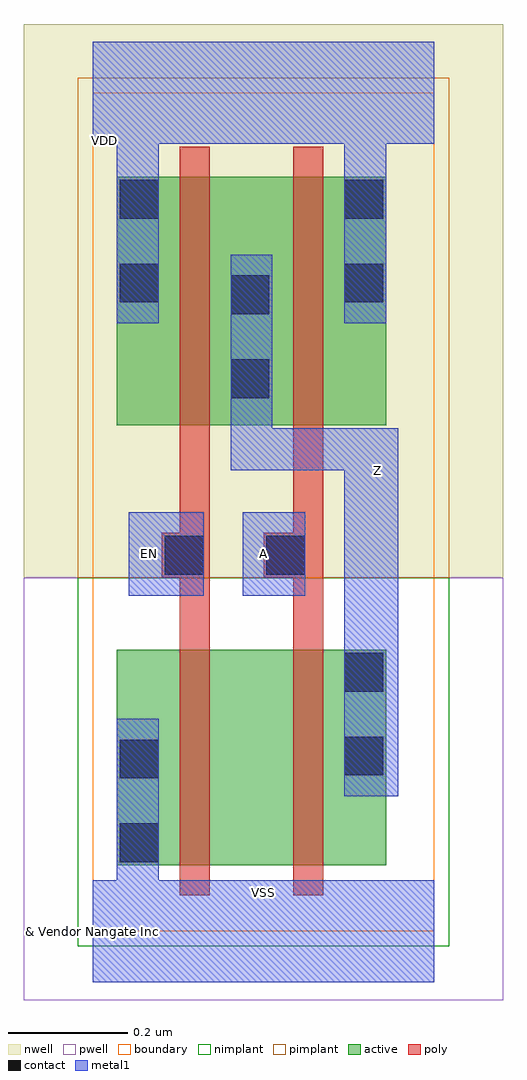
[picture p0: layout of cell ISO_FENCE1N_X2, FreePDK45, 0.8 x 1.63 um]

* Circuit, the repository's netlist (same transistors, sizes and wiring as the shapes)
* 
* ******************************************************************************
* *                                                                            *
* *                   Copyright (C) 2004-2011, Nangate Inc.                    *
* *                           All rights reserved.                             *
* *                                                                            *
* * Nangate and the Nangate logo are trademarks of Nangate Inc.                *
* *                                                                            *
* * All trademarks, logos, software marks, and trade names (collectively the   *
* * "Marks") in this program are proprietary to Nangate or other respective    *
* * owners that have granted Nangate the right and license to use such Marks.  *
* * You are not permitted to use the Marks without the prior written consent   *
* * of Nangate or such third party that may own the Marks.                     *
* *                                                                            *
* * This file has been provided pursuant to a License Agreement containing     *
* * restrictions on its use. This file contains valuable trade secrets and     *
* * proprietary information of Nangate Inc., and is protected by U.S. and      *
* * international laws and/or treaties.                                        *
* *                                                                            *
* * The copyright notice(s) in this file does not indicate actual or intended  *
* * publication of this file.                                                  *
* *                                                                            *
* *     NGLibraryCreator, v2010.08-HR32-SP3-2010-08-05 - build 1009061800      *
* *                                                                            *
* ******************************************************************************
* 
* 
* Running on server08.nangate.com for user Giancarlo Franciscatto (gfr).
* Local time is now Thu, 6 Jan 2011, 19:45:46.
* Main process id is 3320.
*
********************************************************************************
*                                                                              *
* Cellname:   ISO_FENCE1N_X2.                                                  *
*                                                                              *
* Technology: NCSU FreePDK 45nm.                                               *
* Format:     Cdl.                                                             *
*                                                                              *
* Written on server08.nangate.com for user Giancarlo Franciscatto (gfr)        *
* at 19:45:46 on Thu, 6 Jan 2011.                                              *
*                                                                              *
********************************************************************************
.SUBCKT ISO_FENCE1N_X2 A EN Z VDD VSS 
*.PININFO A:I EN:I Z:O VDD:P VSS:G 
*.EQN Z=!(A * EN)
M_i_0 net_000 EN VSS VSS NMOS_VTL W=0.360000U L=0.050000U
M_i_5 Z A net_000 VSS NMOS_VTL W=0.360000U L=0.050000U
M_i_11 Z EN VDD VDD PMOS_VTL W=0.415000U L=0.050000U
M_i_18 VDD A Z VDD PMOS_VTL W=0.415000U L=0.050000U
.ENDS 

********************************************************************************
*
* END
*
********************************************************************************

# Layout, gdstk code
import gdstk
lib = gdstk.Library(unit=1e-6, precision=1e-10)
def R(c, l, rs):  # rectangles x0, y0, x1, y1
    for r in rs: c.add(gdstk.rectangle(r[:2], r[2:], *l))
def P(c, l, *ps):  # polygons
    for p in ps: c.add(gdstk.Polygon(p, *l))
active = (1, 0)
pwell = (2, 0)
nwell = (3, 0)
nimplant = (4, 0)
pimplant = (5, 0)
poly = (9, 0)
contact = (10, 0)
metal1 = (11, 0)
boundary = (235, 0)

iso_fence1n_x2 = lib.new_cell('ISO_FENCE1N_X2')
R(iso_fence1n_x2, active, [(0.04,0.11,0.49,0.47), (0.04,0.845,0.49,1.26)])
R(iso_fence1n_x2, pwell, [(-0.115,-0.115,0.685,0.59)])
R(iso_fence1n_x2, nwell, [(-0.115,0.59,0.685,1.515)])
R(iso_fence1n_x2, nimplant, [(-0.025,-0.025,0.595,0.59)])
R(iso_fence1n_x2, pimplant, [(-0.025,0.59,0.595,1.425)])
P(iso_fence1n_x2, poly, [(0.115,0.59),(0.145,0.59),(0.145,0.06),(0.195,0.06),(0.195,1.31),(0.145,1.31),(0.145,0.665),(0.115,0.665)],
  [(0.285,0.59),(0.335,0.59),(0.335,0.06),(0.385,0.06),(0.385,1.31),(0.335,1.31),(0.335,0.665),(0.285,0.665)])
R(iso_fence1n_x2, contact, [(0.045,0.115,0.11,0.18), (0.045,0.255,0.11,0.32), (0.42,0.26,0.485,0.325), (0.42,0.4,0.485,0.465), (0.12,0.595,0.185,0.66), (0.29,0.595,0.355,0.66), (0.23,0.89,0.295,0.955), (0.23,1.03,0.295,1.095), (0.045,1.05,0.11,1.115), (0.42,1.05,0.485,1.115), (0.045,1.19,0.11,1.255), (0.42,1.19,0.485,1.255)])
R(iso_fence1n_x2, metal1, [(0.06,0.56,0.185,0.7), (0.25,0.56,0.355,0.7)])
P(iso_fence1n_x2, metal1, [(0.23,0.77),(0.42,0.77),(0.42,0.225),(0.51,0.225),(0.51,0.84),(0.3,0.84),(0.3,1.13),(0.23,1.13)],
  [(0,-0.085),(0.57,-0.085),(0.57,0.085),(0.11,0.085),(0.11,0.355),(0.04,0.355),(0.04,0.085),(0,0.085)],
  [(0,1.315),(0.04,1.315),(0.04,1.015),(0.11,1.015),(0.11,1.315),(0.42,1.315),(0.42,1.015),(0.49,1.015),(0.49,1.315),(0.57,1.315),(0.57,1.485),(0,1.485)])
R(iso_fence1n_x2, boundary, [(0,0,0.57,1.4)])
iso_fence1n_x2.add(gdstk.Label('A', (0.285,0.63), layer=11, texttype=0))
iso_fence1n_x2.add(gdstk.Label('EN', (0.095,0.63), layer=11, texttype=0))
iso_fence1n_x2.add(gdstk.Label('VDD', (0.02,1.32), layer=11, texttype=0))
iso_fence1n_x2.add(gdstk.Label('VSS', (0.285,0.065), layer=11, texttype=0))
iso_fence1n_x2.add(gdstk.Label('Z', (0.475,0.77), layer=11, texttype=0))
iso_fence1n_x2.add(gdstk.Label('& Vendor Nangate Inc', (0,0), layer=63, texttype=63))
iso_fence1n_x2.add(gdstk.Label('& Product Open Cell Library', (0,0), layer=63, texttype=63))
iso_fence1n_x2.add(gdstk.Label('& Version 2010_12', (0,0), layer=63, texttype=63))
iso_fence1n_x2.add(gdstk.Label('& Instance ISO_FENCE1N_X2', (0,0), layer=63, texttype=63))

lib.write_gds('ISO_FENCE1N_X2.gds')
